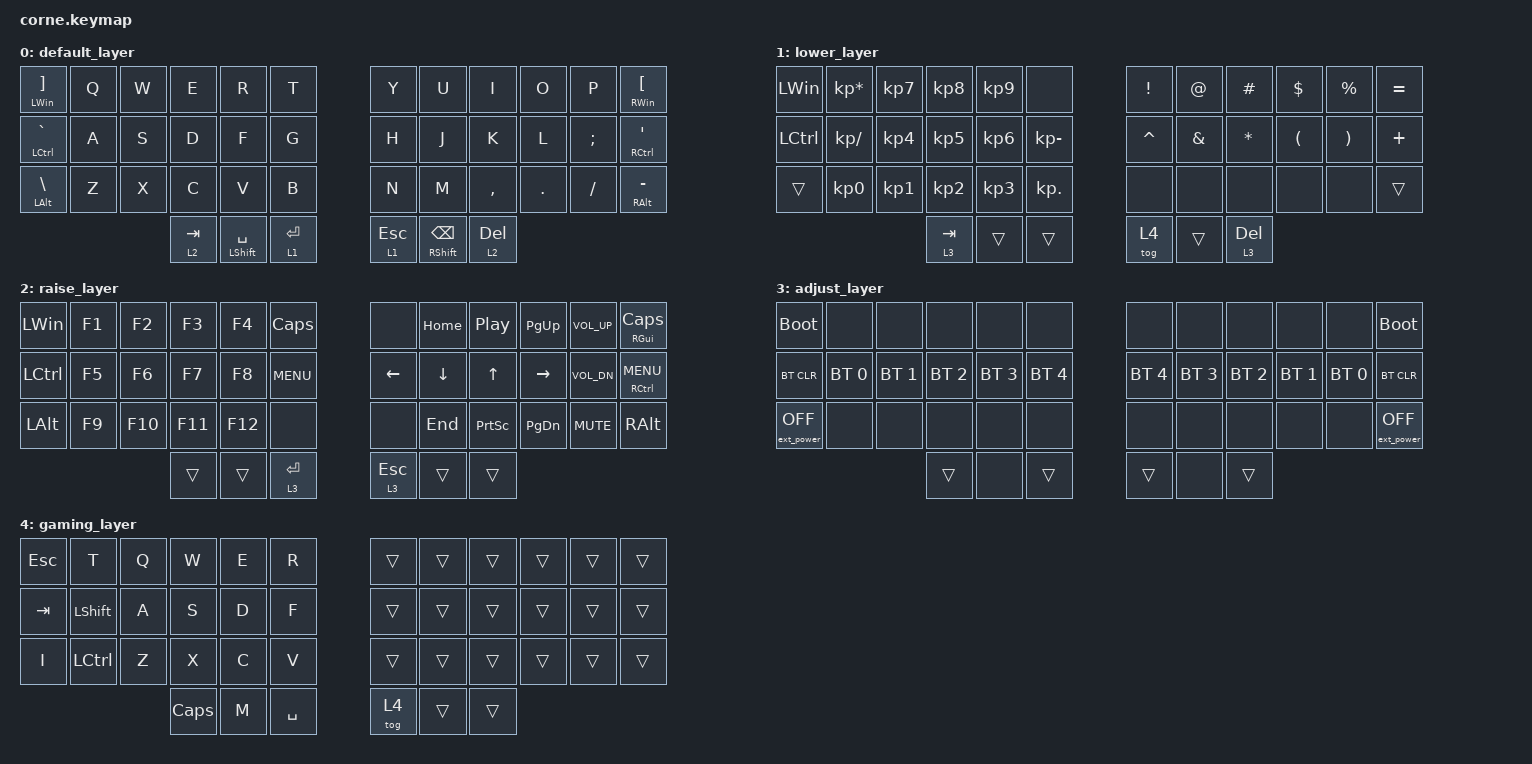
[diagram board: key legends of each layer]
/*
 * Copyright (c) 2020 The ZMK Contributors
 *
 * SPDX-License-Identifier: MIT
 */

#include <behaviors.dtsi>
#include <dt-bindings/zmk/keys.h>
#include <dt-bindings/zmk/bt.h>
#include <dt-bindings/zmk/ext_power.h>
#include <dt-bindings/zmk/pointing.h>

#define DEF 0
#define LWR 1
#define RSE 2
#define ADJ 3

&lt {
    quick_tap_ms = <220>;
};

&mt {
    quick_tap_ms = <220>;
};

/ {
    keymap {
        compatible = "zmk,keymap";

        default_layer {
            bindings = <
                           &mt LWIN RBKT   &kp Q           &kp W     &kp E     &kp R             &kp T        &kp Y        &kp U             &kp I         &kp O       &kp P        &mt RWIN LBKT
                           &mt LCTRL GRAVE &kp A           &kp S     &kp D     &kp F             &kp G        &kp H        &kp J             &kp K         &kp L       &kp SEMI     &mt RCTRL SQT
                           &mt LALT BSLH   &kp Z           &kp X     &kp C     &kp V             &kp B        &kp N        &kp M             &kp COMMA     &kp DOT     &kp FSLH     &mt RALT MINUS
                                                                     &lt 2 TAB &mt LSHFT SPACE   &lt 1 RET    &lt 1 ESC    &mt RSHFT BSPC    &lt 2 DEL
            >;
        };

        lower_layer {
            bindings = <
                        &kp LWIN       &kp KP_MULTIPLY    &kp KP_N7    &kp KP_N8    &kp KP_N9    &none         &kp EXCL     &kp AT       &kp HASH     &kp DLLR     &kp PRCNT    &kp EQUAL
                        &kp LCTRL      &kp KP_SLASH       &kp KP_N4    &kp KP_N5    &kp KP_N6    &kp KP_MINUS  &kp CARET    &kp AMPS     &kp STAR     &kp LPAR     &kp RPAR     &kp PLUS
                        &trans         &kp KP_NUMBER_0    &kp KP_N1    &kp KP_N2    &kp KP_N3    &kp KP_DOT    &none        &none        &none        &none        &none        &trans
                                                                       &lt 3 TAB    &trans       &trans        &tog 4       &trans       &lt 3 DEL
            >;
        };

        raise_layer {
            bindings = <
                        &kp LWIN       &kp F1       &kp F2       &kp F3       &kp F4       &kp CAPS    &none        &kp HOME     &kp C_PP     &kp PG_UP    &kp C_VOL_UP    &mt RIGHT_GUI CAPS
                        &kp LCTRL      &kp F5       &kp F6       &kp F7       &kp F8       &kp K_MENU  &kp LEFT     &kp DOWN     &kp UP       &kp RIGHT    &kp C_VOL_DN    &mt RCTRL K_MENU
                        &kp LALT       &kp F9       &kp F10      &kp F11      &kp F12      &none       &none        &kp END      &kp PSCRN    &kp PG_DN    &kp C_MUTE      &kp RALT
                                                                              &trans       &trans      &lt 3 RET    &lt 3 ESC    &trans       &trans
            >;
        };

        adjust_layer {
            bindings = <
                        &bootloader             &none           &none        &none        &none        &none        &none        &none        &none        &none        &none        &bootloader
                        &bt BT_CLR              &bt BT_SEL 0    &bt BT_SEL 1 &bt BT_SEL 2 &bt BT_SEL 3 &bt BT_SEL 4 &bt BT_SEL 4 &bt BT_SEL 3 &bt BT_SEL 2 &bt BT_SEL 1 &bt BT_SEL 0 &bt BT_CLR
                        &ext_power EP_OFF       &none           &none        &none        &none        &none        &none        &none        &none        &none        &none        &ext_power EP_OFF
                                                                             &trans       &none        &trans       &trans       &none        &trans
            >;
        };

        gaming_layer {
            bindings = <
                        &kp ESCAPE  &kp T           &kp Q  &kp W     &kp E  &kp R        &trans  &trans  &trans  &trans  &trans  &trans
                        &kp TAB     &kp LEFT_SHIFT  &kp A  &kp S     &kp D  &kp F        &trans  &trans  &trans  &trans  &trans  &trans
                        &kp I       &kp LCTRL       &kp Z  &kp X     &kp C  &kp V        &trans  &trans  &trans  &trans  &trans  &trans
                                                           &kp CAPS  &kp M  &kp SPACE    &tog 4  &trans  &trans
            >;
        };
    };
};
